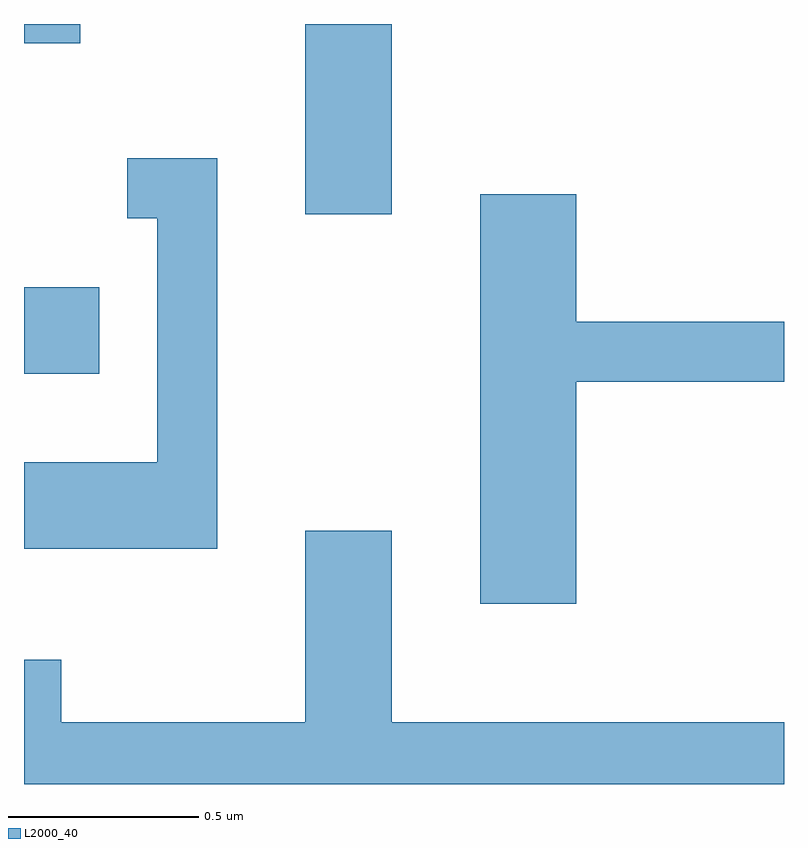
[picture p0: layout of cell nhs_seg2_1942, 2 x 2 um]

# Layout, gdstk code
import gdstk
lib = gdstk.Library(unit=1e-6, precision=1e-09)
def R(c, l, rs):  # rectangles x0, y0, x1, y1
    for r in rs: c.add(gdstk.rectangle(r[:2], r[2:], *l))
def P(c, l, *ps):  # polygons
    for p in ps: c.add(gdstk.Polygon(p, *l))
L2000_40 = (2000, 40)

nhs_seg2_1942 = lib.new_cell('nhs_seg2_1942')
R(nhs_seg2_1942, L2000_40, [(199.611,1002.881,199.809,1003.109), (200.351,1003.301,200.579,1003.802), (199.611,1003.751,199.759,1003.802)])
P(nhs_seg2_1942, L2000_40, [(200.119,1003.449),(199.883,1003.449),(199.883,1003.291),(199.961,1003.291),(199.961,1002.649),(199.611,1002.649),(199.611,1002.421),(200.119,1002.421)],
  [(201.064,1002.861),(201.611,1002.861),(201.611,1003.019),(201.064,1003.019),(201.064,1003.354),(200.811,1003.354),(200.811,1002.276),(201.064,1002.276)],
  [(201.611,1001.964),(200.579,1001.964),(200.579,1002.469),(200.351,1002.469),(200.351,1001.964),(199.709,1001.964),(199.709,1002.129),(199.611,1002.129),(199.611,1001.802),(201.611,1001.802)])

lib.write_gds('nhs_seg2_1942.gds')
